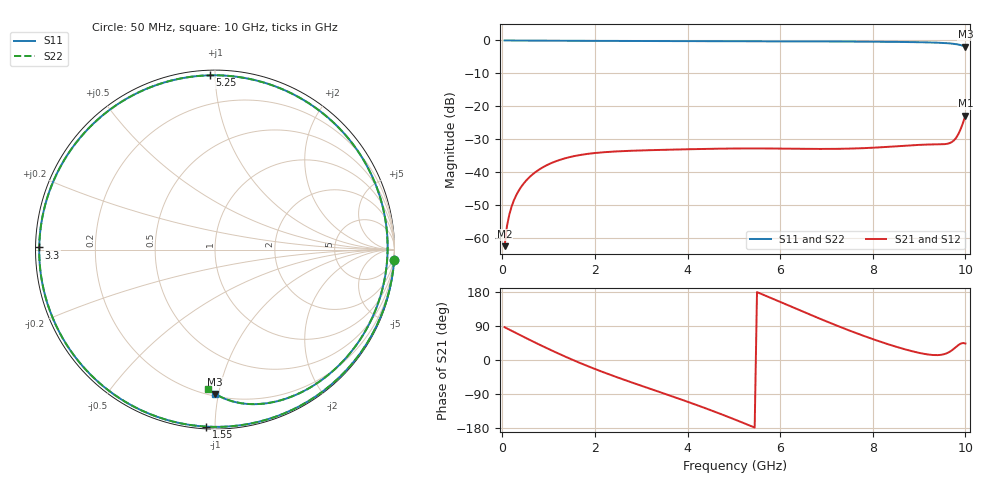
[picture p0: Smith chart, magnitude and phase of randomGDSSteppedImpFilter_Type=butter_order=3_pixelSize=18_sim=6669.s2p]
! freq	dB(S11)	phase(S11)	dB(S12)	phase(S12)
!  dB(S21)	phase(S21)	dB(S22)	phase(S22)
!S-par simulation data
#  GHz  S  DB  R 50
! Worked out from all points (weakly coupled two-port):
!   200 points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, 50 MHz to 10 GHz, reference 50 ohm
!   highest |S21| = -22.84 dB at 10 GHz (marker M1); lowest = -62.5 dB at 50 MHz (marker M2)
!   lowest |S11| = -1.9 dB at 10 GHz (marker M3), VSWR 9.24, Z = 10.7 - j48.9 ohm
!   |S11| at or under -10 dB: nowhere
!   |S22| runs from -2.2 to 0.0 dB; largest |S21 - S12| = 0
!   S11 on the Smith chart (normalised r, x): 50 MHz: 0, -36; 1.55 GHz: 0.01, -0.95; 3.3 GHz: 0.01, +0.01; 5.25 GHz: 0.03, +0.97; 10 GHz: 0.21, -0.98
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0.05  -0.00 -3.2  -62.46 86.5  -62.46 86.5  -0.00 -3.2
0.1  -0.01 -6.3  -56.46 83.5  -56.46 83.5  -0.01 -6.3
0.2  -0.02 -12.6  -50.48 77.2  -50.48 77.2  -0.02 -12.6
0.45  -0.04 -28.2  -43.65 61.7  -43.65 61.7  -0.04 -28.2
1  -0.08 -61.5  -37.61 29.0  -37.61 29.0  -0.08 -61.4
1.55  -0.11 -92.9  -35.12 -1.2  -35.12 -1.2  -0.11 -92.9
1.75  -0.12 -103.8  -34.62 -11.5  -34.62 -11.5  -0.12 -103.8
2.55  -0.16 -144.9  -33.63 -48.7  -33.63 -48.7  -0.16 -145.0
3.3  -0.18 179.3  -33.27 -80.4  -33.27 -80.4  -0.18 179.1
3.4  -0.18 174.6  -33.24 -84.6  -33.24 -84.6  -0.18 174.5
3.85  -0.20 154.0  -33.09 -103.7  -33.09 -103.7  -0.20 153.8
4.3  -0.21 133.7  -32.95 -123.4  -32.95 -123.4  -0.21 133.4
5.05  -0.24 100.4  -32.80 -158.4  -32.80 -158.4  -0.24 100.1
5.25  -0.25 91.7  -32.79 -168.3  -32.79 -168.3  -0.25 91.3
5.9  -0.27 63.9  -32.82 158.6  -32.82 158.6  -0.27 63.5
6.7  -0.29 31.4  -32.93 117.0  -32.93 117.0  -0.30 30.9
7.5  -0.34 1.4  -32.84 77.6  -32.84 77.6  -0.34 0.8
8.35  -0.42 -27.7  -32.29 40.9  -32.29 40.9  -0.42 -28.3
9.05  -0.55 -50.2  -31.67 17.6  -31.67 17.6  -0.55 -51.0
9.65  -0.89 -71.5  -31.22 20.9  -31.22 20.9  -0.93 -72.8
9.85  -1.25 -80.9  -28.39 39.5  -28.39 39.5  -1.36 -82.7
10  -1.89 -89.9  -22.84 43.5  -22.84 43.5  -2.17 -92.8
